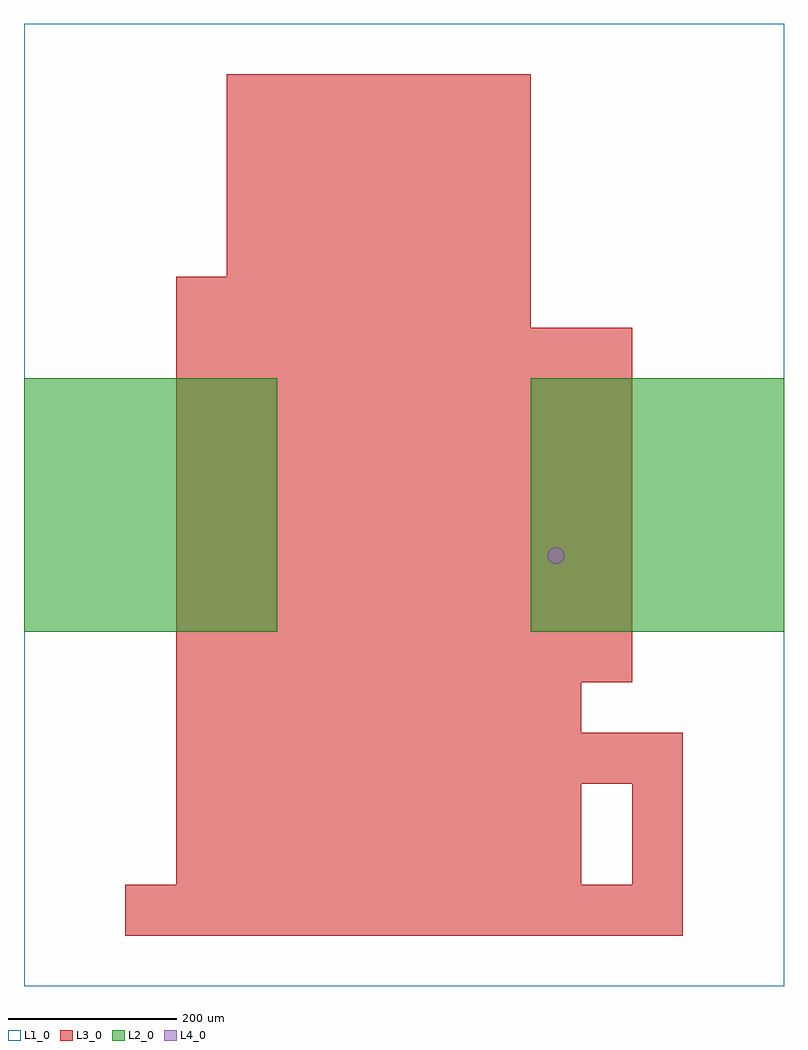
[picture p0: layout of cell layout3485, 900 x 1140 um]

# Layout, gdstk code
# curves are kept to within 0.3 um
import gdstk
lib = gdstk.Library(unit=1e-6, precision=1e-09)
def R(c, l, rs):  # rectangles x0, y0, x1, y1
    for r in rs: c.add(gdstk.rectangle(r[:2], r[2:], *l))
def A(c, l, x, y, w, h, nx, ny, dx, dy):  # array of equal rectangles
    R(c, l, [(x+i*dx, y+j*dy, x+i*dx+w, y+j*dy+h) for i in range(nx) for j in range(ny)])
def P(c, l, *ps):  # polygons
    for p in ps: c.add(gdstk.Polygon(p, *l))
L1_0 = (1, 0)
L2_0 = (2, 0)
L3_0 = (3, 0)
L4_0 = (4, 0)

layout3485 = lib.new_cell('layout3485')
R(layout3485, L1_0, [(0,0,900,1140)])
A(layout3485, L2_0, 0, 420, 60, 60, 5, 5, 60, 60)
A(layout3485, L2_0, 600, 420, 60, 60, 5, 5, 60, 60)
A(layout3485, L3_0, 120, 60, 60, 60, 11, 1, 60, 0)
A(layout3485, L3_0, 180, 120, 60, 60, 8, 2, 60, 60)
A(layout3485, L3_0, 180, 240, 60, 60, 10, 1, 60, 0)
A(layout3485, L3_0, 180, 300, 60, 60, 8, 1, 60, 0)
A(layout3485, L3_0, 180, 360, 60, 60, 9, 7, 60, 60)
A(layout3485, L3_0, 180, 780, 60, 60, 7, 1, 60, 0)
A(layout3485, L3_0, 240, 840, 60, 60, 6, 4, 60, 60)
R(layout3485, L3_0, [(720,120,780,180), (720,180,780,240)])
P(layout3485, L4_0, [(640,510),(639.239,513.827),(637.071,517.071),(633.827,519.239),(630,520),(626.173,519.239),(622.929,517.071),(620.761,513.827),(620,510),(620.761,506.173),(622.929,502.929),(626.173,500.761),(630,500),(633.827,500.761),(637.071,502.929),(639.239,506.173)])

lib.write_gds('layout3485.gds')
